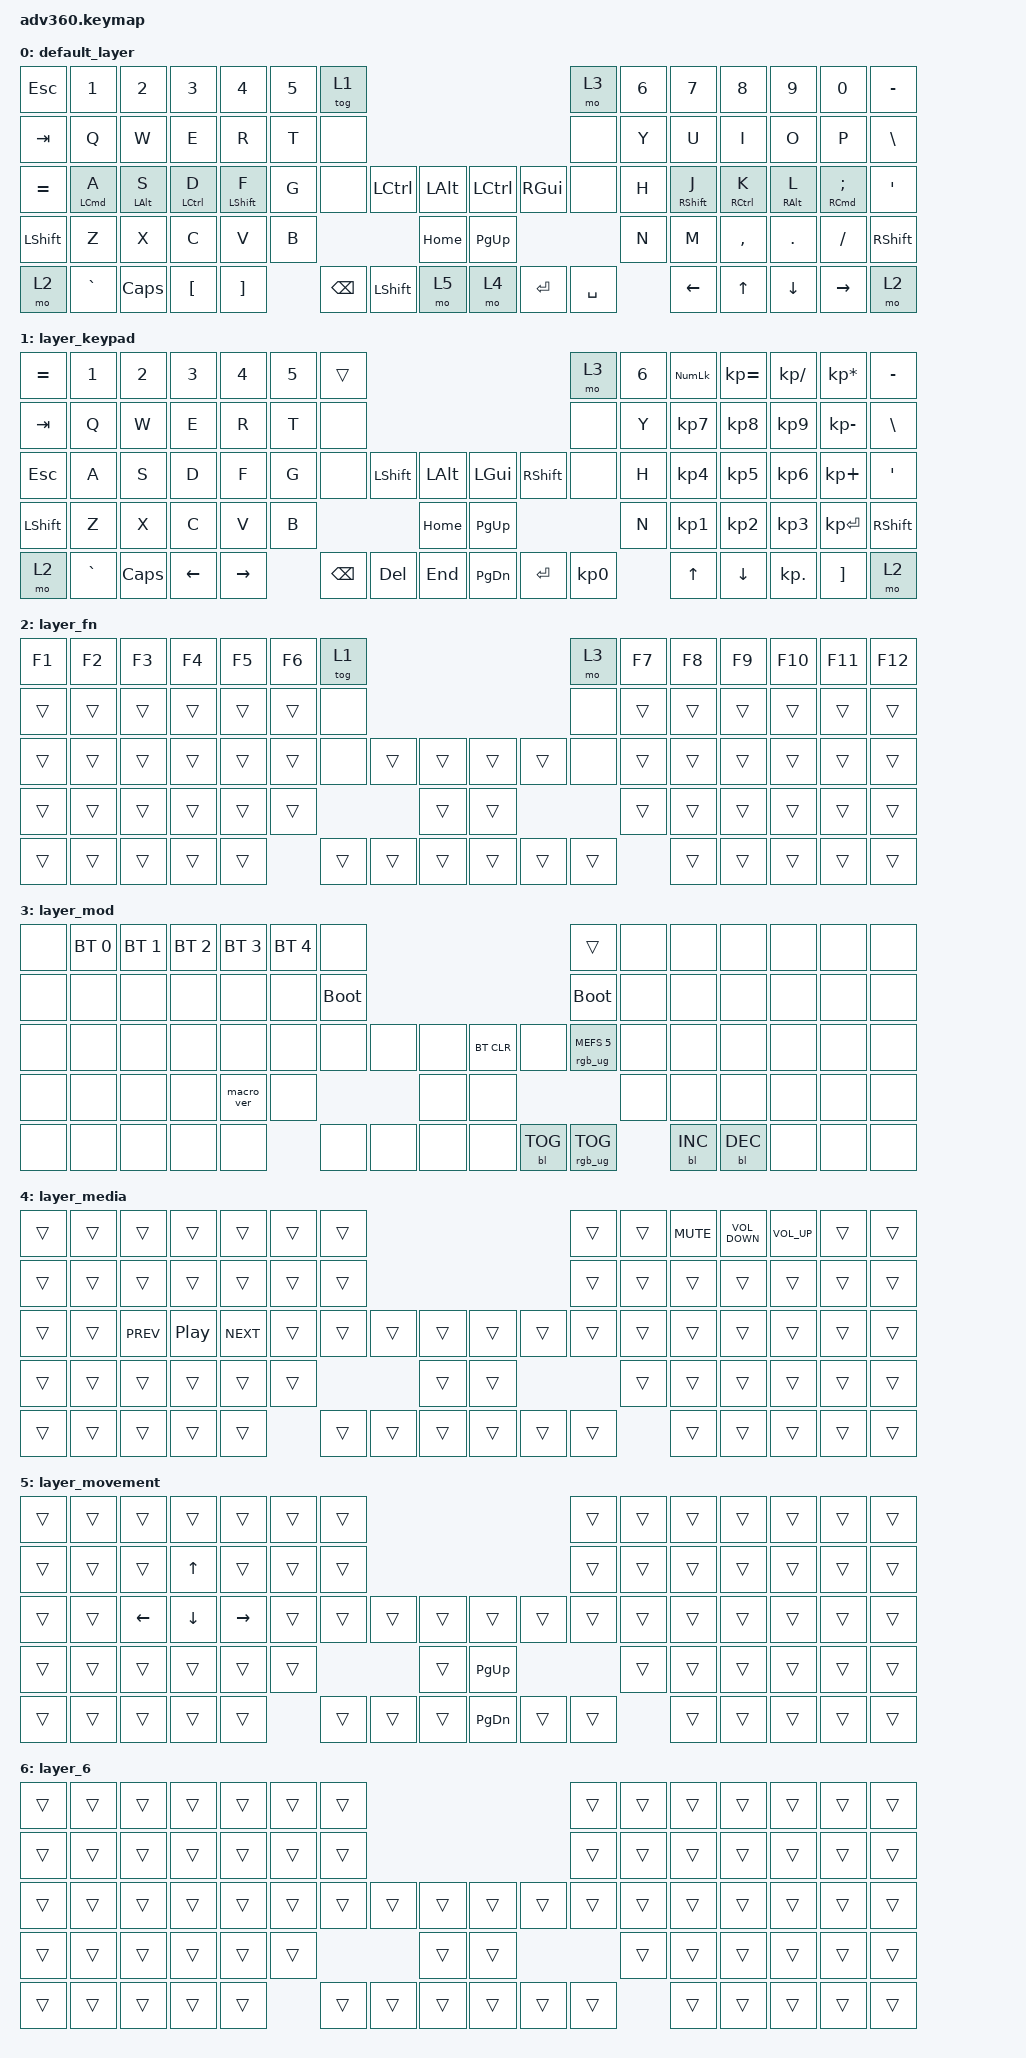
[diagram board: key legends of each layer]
/*
 * Copyright (c) 2020 The ZMK Contributors
 *
 * SPDX-License-Identifier: MIT
 */
/* THIS FILE WAS GENERATED!
 *
 * This file was generated automatically. You may or may not want to
 * edit it directly.
 */

#include <behaviors.dtsi>
#include <dt-bindings/zmk/backlight.h>
#include <dt-bindings/zmk/bt.h>
#include <dt-bindings/zmk/keys.h>
#include <dt-bindings/zmk/rgb.h>

/ {
    behaviors {
        #include "macros.dtsi"
    #include "version.dtsi"

        hm: homerow_mods {
            compatible = "zmk,behavior-hold-tap";
            label = "HOMEROW_MODS";
            #binding-cells = <2>;
            tapping-term-ms = <200>;
            quick_tap_ms = <175>;
            flavor = "tap-preferred";
            bindings = <&kp>, <&kp>;
        };
    };

    keymap {
        compatible = "zmk,keymap";

        default_layer {
            bindings = <
&kp ESC    &kp N1      &kp N2          &kp N3              &kp N4        &kp N5  &tog 1                                                        &mo 3      &kp N6  &kp N7             &kp N8               &kp N9           &kp N0              &kp MINUS
&kp TAB    &kp Q       &kp W           &kp E               &kp R         &kp T   &none                                                         &none      &kp Y   &kp U              &kp I                &kp O            &kp P               &kp BSLH
&kp EQUAL  &hm LCMD A  &hm LEFT_ALT S  &hm LEFT_CONTROL D  &hm LSHIFT F  &kp G   &none     &kp LCTRL       &kp LALT      &kp LCTRL  &kp RGUI   &none      &kp H   &hm RIGHT_SHIFT J  &hm RIGHT_CONTROL K  &hm RIGHT_ALT L  &hm RCMD SEMICOLON  &kp SQT
&kp LSHFT  &kp Z       &kp X           &kp C               &kp V         &kp B                             &kp HOME      &kp PG_UP                        &kp N   &kp M              &kp COMMA            &kp DOT          &kp FSLH            &kp RIGHT_SHIFT
&mo 2      &kp GRAVE   &kp CAPS        &kp LBKT            &kp RBKT              &kp BSPC  &kp LEFT_SHIFT  &mo 5         &mo 4      &kp ENTER  &kp SPACE          &kp LEFT           &kp UP               &kp DOWN         &kp RIGHT           &mo 2
            >;
        };

        layer_keypad {
            bindings = <
&kp EQUAL  &kp N1     &kp N2    &kp N3    &kp N4     &kp N5  &trans                                                     &mo 3      &kp N6  &kp KP_NUM  &kp KP_EQUAL  &kp KP_DIVIDE  &kp KP_MULTIPLY  &kp MINUS
&kp TAB    &kp Q      &kp W     &kp E     &kp R      &kp T   &none                                                      &none      &kp Y   &kp KP_N7   &kp KP_N8     &kp KP_N9      &kp KP_MINUS     &kp BSLH
&kp ESC    &kp A      &kp S     &kp D     &kp F      &kp G   &none     &kp LSHIFT  &kp LALT      &kp LGUI   &kp RSHIFT  &none      &kp H   &kp KP_N4   &kp KP_N5     &kp KP_N6      &kp KP_PLUS      &kp SQT
&kp LSHFT  &kp Z      &kp X     &kp C     &kp V      &kp B                         &kp HOME      &kp PG_UP                         &kp N   &kp KP_N1   &kp KP_N2     &kp KP_N3      &kp KP_ENTER     &kp RSHFT
&mo 2      &kp GRAVE  &kp CAPS  &kp LEFT  &kp RIGHT          &kp BSPC  &kp DEL     &kp END       &kp PG_DN  &kp ENTER   &kp KP_N0          &kp UP      &kp DOWN      &kp KP_DOT     &kp RBKT         &mo 2
            >;
        };

        layer_fn {
            bindings = <
&kp F1  &kp F2  &kp F3  &kp F4  &kp F5  &kp F6  &tog 1                                      &mo 3   &kp F7  &kp F8  &kp F9  &kp F10  &kp F11  &kp F12
&trans  &trans  &trans  &trans  &trans  &trans  &none                                       &none   &trans  &trans  &trans  &trans   &trans   &trans
&trans  &trans  &trans  &trans  &trans  &trans  &none   &trans  &trans      &trans  &trans  &none   &trans  &trans  &trans  &trans   &trans   &trans
&trans  &trans  &trans  &trans  &trans  &trans                  &trans      &trans                  &trans  &trans  &trans  &trans   &trans   &trans
&trans  &trans  &trans  &trans  &trans          &trans  &trans  &trans      &trans  &trans  &trans          &trans  &trans  &trans   &trans   &trans
            >;
        };

        layer_mod {
            bindings = <
&none  &bt BT_SEL 0  &bt BT_SEL 1  &bt BT_SEL 2  &bt BT_SEL 3  &bt BT_SEL 4  &none                                                  &trans                  &none  &none       &none       &none  &none  &none
&none  &none         &none         &none         &none         &none         &bootloader                                            &bootloader             &none  &none       &none       &none  &none  &none
&none  &none         &none         &none         &none         &none         &none        &none  &none      &bt BT_CLR  &none       &rgb_ug RGB_MEFS_CMD 5  &none  &none       &none       &none  &none  &none
&none  &none         &none         &none         &macro_ver    &none                             &none      &none                                           &none  &none       &none       &none  &none  &none
&none  &none         &none         &none         &none                       &none        &none  &none      &none       &bl BL_TOG  &rgb_ug RGB_TOG                &bl BL_INC  &bl BL_DEC  &none  &none  &none
            >;
        };

        layer_media {
            bindings = <
&trans  &trans  &trans      &trans            &trans      &trans  &trans                                      &trans  &trans  &kp K_MUTE  &kp C_VOLUME_DOWN  &kp C_VOLUME_UP  &trans  &trans
&trans  &trans  &trans      &trans            &trans      &trans  &trans                                      &trans  &trans  &trans      &trans             &trans           &trans  &trans
&trans  &trans  &kp K_PREV  &kp C_PLAY_PAUSE  &kp C_NEXT  &trans  &trans  &trans  &trans      &trans  &trans  &trans  &trans  &trans      &trans             &trans           &trans  &trans
&trans  &trans  &trans      &trans            &trans      &trans                  &trans      &trans                  &trans  &trans      &trans             &trans           &trans  &trans
&trans  &trans  &trans      &trans            &trans              &trans  &trans  &trans      &trans  &trans  &trans          &trans      &trans             &trans           &trans  &trans
            >;
        };

        layer_movement {
            bindings = <
&trans  &trans  &trans          &trans        &trans     &trans  &trans                                             &trans  &trans  &trans  &trans  &trans  &trans  &trans
&trans  &trans  &trans          &kp UP_ARROW  &trans     &trans  &trans                                             &trans  &trans  &trans  &trans  &trans  &trans  &trans
&trans  &trans  &kp LEFT_ARROW  &kp DOWN      &kp RIGHT  &trans  &trans  &trans  &trans      &trans         &trans  &trans  &trans  &trans  &trans  &trans  &trans  &trans
&trans  &trans  &trans          &trans        &trans     &trans                  &trans      &kp PAGE_UP                    &trans  &trans  &trans  &trans  &trans  &trans
&trans  &trans  &trans          &trans        &trans             &trans  &trans  &trans      &kp PAGE_DOWN  &trans  &trans          &trans  &trans  &trans  &trans  &trans
            >;
        };

        layer_6 {
            bindings = <
&trans  &trans  &trans  &trans  &trans  &trans  &trans                                      &trans  &trans  &trans  &trans  &trans  &trans  &trans
&trans  &trans  &trans  &trans  &trans  &trans  &trans                                      &trans  &trans  &trans  &trans  &trans  &trans  &trans
&trans  &trans  &trans  &trans  &trans  &trans  &trans  &trans  &trans      &trans  &trans  &trans  &trans  &trans  &trans  &trans  &trans  &trans
&trans  &trans  &trans  &trans  &trans  &trans                  &trans      &trans                  &trans  &trans  &trans  &trans  &trans  &trans
&trans  &trans  &trans  &trans  &trans          &trans  &trans  &trans      &trans  &trans  &trans          &trans  &trans  &trans  &trans  &trans
            >;
        };
    };
};
